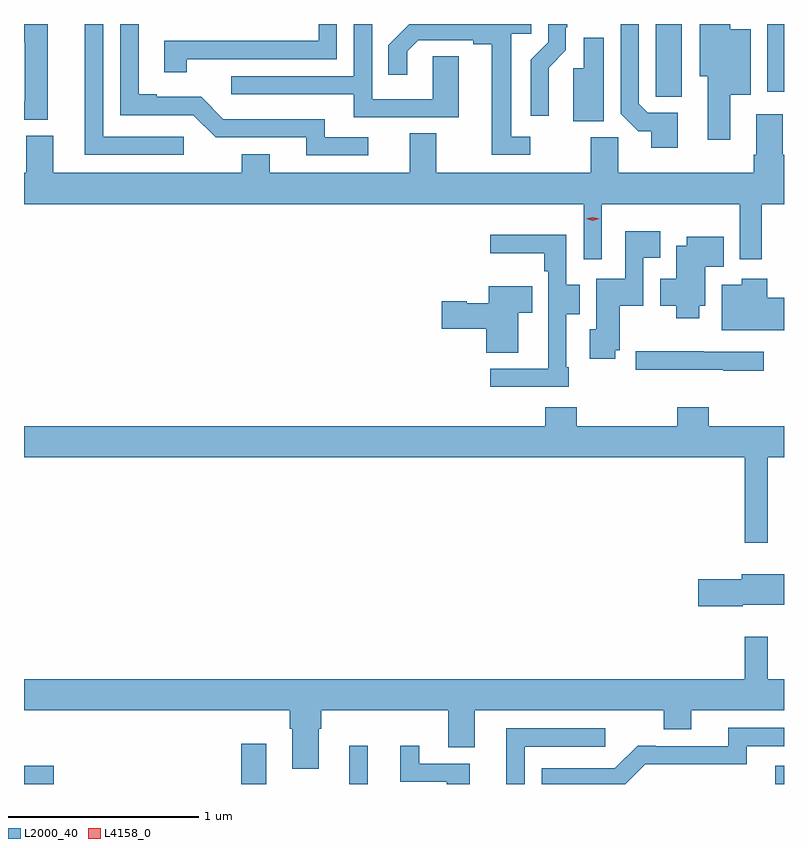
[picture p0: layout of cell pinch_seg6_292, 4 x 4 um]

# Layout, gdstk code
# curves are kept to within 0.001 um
import gdstk
lib = gdstk.Library(unit=1e-6, precision=1e-09)
def R(c, l, rs):  # rectangles x0, y0, x1, y1
    for r in rs: c.add(gdstk.rectangle(r[:2], r[2:], *l))
def P(c, l, *ps):  # polygons
    for p in ps: c.add(gdstk.Polygon(p, *l))
L2000_40 = (2000, 40)
L4158_0 = (4158, 0)

pinch_seg6_292 = lib.new_cell('pinch_seg6_292')
R(pinch_seg6_292, L2000_40, [(852.67,962.932,852.827,963.028), (853.814,962.932,853.945,963.145), (854.381,962.932,854.479,963.133), (856.625,962.932,856.67,963.027), (856.583,966.576,856.67,966.932)])
P(pinch_seg6_292, L2000_40, [(856.132,966.932),(855.995,966.932),(855.995,966.658),(855.996,966.658),(855.996,966.55),(856.132,966.55)],
  [(854.959,966.761),(854.82,966.761),(854.82,966.537),(854.502,966.537),(854.502,966.932),(854.406,966.932),(854.406,966.657),(853.761,966.657),(853.761,966.561),(854.405,966.561),(854.405,966.441),(854.959,966.441)],
  [(852.796,966.932),(852.67,966.932),(852.67,966.836),(852.674,966.836),(852.674,966.525),(852.67,966.525),(852.67,966.429),(852.796,966.429)],
  [(855.334,966.339),(855.235,966.339),(855.235,966.882),(855.341,966.882),(855.341,966.932),(854.698,966.932),(854.587,966.821),(854.587,966.666),(854.688,966.666),(854.688,966.788),(854.746,966.846),(855.035,966.846),(855.035,966.826),(855.131,966.826),(855.131,966.243),(855.334,966.243)],
  [(856.111,966.465),(855.954,966.465),(855.906,966.513),(855.906,966.932),(855.81,966.932),(855.81,966.459),(855.903,966.367),(855.971,966.367),(855.971,966.282),(856.111,966.282)],
  [(855.432,966.596),(855.431,966.596),(855.431,966.702),(855.522,966.794),(855.522,966.915),(855.53,966.915),(855.53,966.932),(855.429,966.932),(855.429,966.837),(855.336,966.744),(855.336,966.45),(855.432,966.45)],
  [(853.527,966.747),(854.316,966.747),(854.316,966.932),(854.22,966.932),(854.22,966.843),(853.407,966.843),(853.407,966.678),(853.527,966.678)],
  [(853.51,966.339),(853.086,966.339),(853.086,966.932),(852.989,966.932),(852.989,966.243),(853.51,966.243)],
  [(854.482,966.336),(854.254,966.336),(854.254,966.432),(853.719,966.432),(853.602,966.549),(853.369,966.549),(853.369,966.562),(853.273,966.562),(853.273,966.932),(853.176,966.932),(853.176,966.453),(853.56,966.453),(853.679,966.335),(854.156,966.336),(854.156,966.24),(854.482,966.24)],
  [(856.387,966.56),(856.495,966.56),(856.495,966.904),(856.387,966.904),(856.387,966.932),(856.226,966.932),(856.226,966.656),(856.268,966.656),(856.268,966.324),(856.387,966.324)],
  [(855.721,966.859),(855.617,966.859),(855.617,966.699),(855.56,966.699),(855.56,966.421),(855.721,966.421)],
  [(855.711,965.984),(856.437,965.984),(856.437,965.694),(856.553,965.694),(856.553,965.984),(856.67,965.984),(856.67,966.244),(856.663,966.244),(856.663,966.457),(856.523,966.457),(856.523,966.244),(856.511,966.244),(856.511,966.148),(855.798,966.148),(855.798,966.336),(855.652,966.336),(855.652,966.148),(854.839,966.148),(854.839,966.356),(854.699,966.356),(854.699,966.148),(853.963,966.148),(853.963,966.247),(853.816,966.247),(853.816,966.148),(852.823,966.148),(852.823,966.343),(852.683,966.343),(852.683,966.148),(852.67,966.148),(852.67,965.984),(855.615,965.984),(855.615,965.694),(855.711,965.694)],
  [(855.781,965.214),(855.805,965.214),(855.805,965.45),(855.93,965.45),(855.93,965.702),(856.018,965.702),(856.018,965.842),(855.834,965.842),(855.834,965.59),(855.683,965.59),(855.683,965.325),(855.647,965.325),(855.647,965.17),(855.781,965.17)],
  [(855.538,965.125),(855.525,965.125),(855.525,965.404),(855.595,965.404),(855.595,965.559),(855.525,965.559),(855.525,965.824),(855.123,965.824),(855.123,965.726),(855.409,965.726),(855.409,965.63),(855.429,965.63),(855.429,965.315),(855.428,965.315),(855.428,965.118),(855.123,965.118),(855.123,965.022),(855.538,965.022)],
  [(856.225,965.45),(856.255,965.45),(856.255,965.654),(856.352,965.654),(856.352,965.812),(856.157,965.812),(856.157,965.764),(856.103,965.764),(856.103,965.59),(856.019,965.59),(856.019,965.45),(856.103,965.45),(856.103,965.384),(856.225,965.384)],
  [(856.67,965.492),(856.583,965.492),(856.583,965.59),(856.448,965.59),(856.448,965.56),(856.343,965.56),(856.343,965.321),(856.67,965.321)],
  [(855.271,965.411),(855.344,965.411),(855.344,965.551),(855.116,965.551),(855.116,965.461),(855,965.461),(855,965.474),(854.868,965.474),(854.868,965.327),(855.104,965.327),(855.104,965.203),(855.271,965.203)],
  [(856.564,965.208),(856.247,965.208),(856.247,965.209),(855.891,965.209),(855.891,965.111),(856.351,965.111),(856.351,965.107),(856.564,965.107)],
  [(856.585,964.652),(856.67,964.652),(856.67,964.816),(856.274,964.816),(856.274,964.915),(856.109,964.915),(856.109,964.816),(855.578,964.816),(855.578,964.915),(855.413,964.915),(855.413,964.816),(852.67,964.816),(852.67,964.652),(856.464,964.652),(856.464,964.203),(856.585,964.203)],
  [(856.452,963.875),(856.67,963.875),(856.67,964.036),(856.448,964.036),(856.448,964.01),(856.218,964.01),(856.218,963.868),(856.452,963.868)],
  [(854.221,963.224),(854.234,963.224),(854.234,963.32),(854.903,963.32),(854.903,963.126),(855.043,963.126),(855.043,963.32),(856.036,963.32),(856.036,963.221),(856.183,963.221),(856.183,963.32),(856.67,963.32),(856.67,963.484),(856.585,963.484),(856.585,963.706),(856.464,963.706),(856.464,963.484),(852.67,963.484),(852.67,963.32),(854.069,963.32),(854.069,963.224),(854.081,963.224),(854.081,963.012),(854.221,963.012)],
  [(855.939,963.036),(856.474,963.036),(856.474,963.132),(856.67,963.132),(856.67,963.228),(856.376,963.228),(856.376,963.132),(855.994,963.132),(855.994,963.134),(855.899,963.134),(855.78,963.015),(855.396,963.015),(855.396,962.932),(855.835,962.932)],
  [(855.306,963.129),(855.73,963.129),(855.73,963.225),(855.209,963.225),(855.209,962.932),(855.306,962.932)],
  [(855.016,963.039),(854.749,963.039),(854.749,963.133),(854.651,963.133),(854.651,962.943),(854.894,962.943),(854.894,962.932),(855.016,962.932)])
P(pinch_seg6_292, L4158_0, [(855.663,965.896),(855.628,965.906),(855.628,965.906),(855.628,965.906),(855.663,965.916),(855.698,965.906),(855.698,965.906),(855.698,965.906)])

lib.write_gds('pinch_seg6_292.gds')
